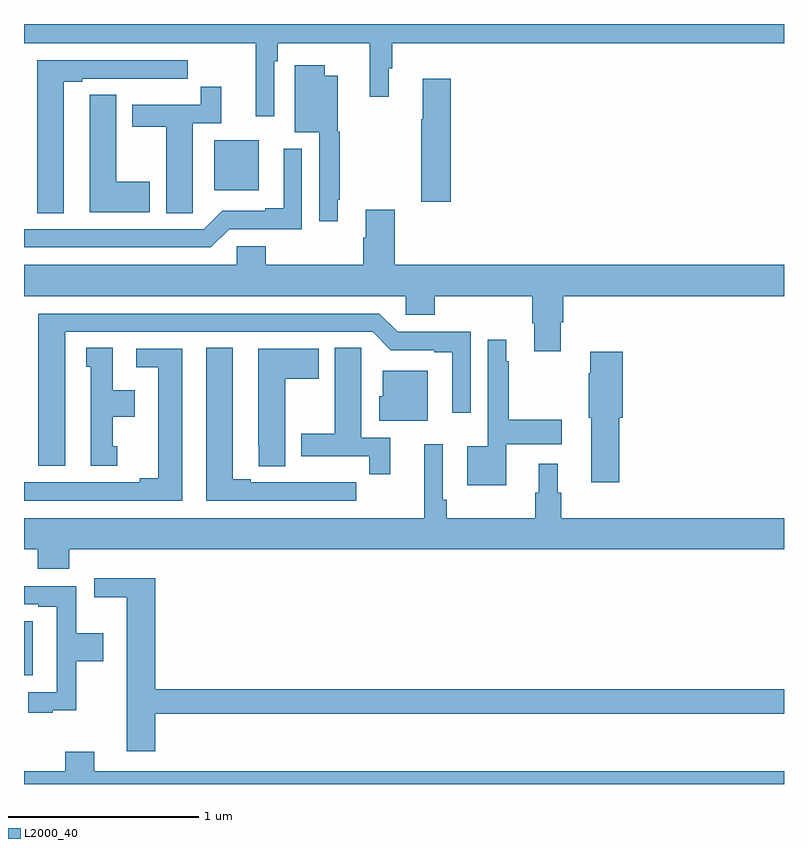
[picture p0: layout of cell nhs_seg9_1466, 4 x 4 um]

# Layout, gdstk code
import gdstk
lib = gdstk.Library(unit=1e-6, precision=1e-09)
def R(c, l, rs):  # rectangles x0, y0, x1, y1
    for r in rs: c.add(gdstk.rectangle(r[:2], r[2:], *l))
def P(c, l, *ps):  # polygons
    for p in ps: c.add(gdstk.Polygon(p, *l))
L2000_40 = (2000, 40)

nhs_seg9_1466 = lib.new_cell('nhs_seg9_1466')
R(nhs_seg9_1466, L2000_40, [(193,1213.073,193.045,1213.357), (194,1215.626,194.236,1215.889)])
P(nhs_seg9_1466, L2000_40, [(194.316,1216.304),(194.336,1216.304),(194.336,1216.4),(194.821,1216.4),(194.821,1216.116),(194.92,1216.116),(194.92,1216.266),(194.939,1216.266),(194.939,1216.4),(197,1216.4),(197,1216.5),(193,1216.5),(193,1216.4),(194.219,1216.4),(194.219,1216.014),(194.316,1216.014)],
  [(193.21,1216.197),(193.306,1216.197),(193.306,1216.212),(193.582,1216.212),(193.582,1216.211),(193.748,1216.211),(193.748,1216.212),(193.861,1216.212),(193.861,1216.308),(193.07,1216.308),(193.07,1215.505),(193.21,1215.505)],
  [(194.65,1215.574),(194.662,1215.574),(194.662,1215.933),(194.65,1215.933),(194.65,1216.228),(194.584,1216.228),(194.584,1216.282),(194.426,1216.282),(194.426,1215.929),(194.553,1215.929),(194.553,1215.462),(194.65,1215.462)],
  [(195.245,1216.213),(195.098,1216.213),(195.098,1216),(195.091,1216),(195.091,1215.564),(195.245,1215.564)],
  [(193.887,1215.616),(193.888,1215.616),(193.888,1215.978),(194.039,1215.978),(194.039,1216.171),(193.93,1216.171),(193.93,1216.074),(193.571,1216.074),(193.571,1215.958),(193.748,1215.958),(193.748,1215.505),(193.887,1215.505)],
  [(193.663,1215.669),(193.486,1215.669),(193.486,1216.127),(193.347,1216.127),(193.347,1216.019),(193.346,1216.019),(193.346,1215.509),(193.663,1215.509)],
  [(194.079,1215.42),(194.463,1215.42),(194.463,1215.844),(194.366,1215.844),(194.366,1215.529),(194.27,1215.529),(194.27,1215.516),(194.043,1215.516),(193.947,1215.42),(193,1215.42),(193,1215.324),(193.983,1215.324)],
  [(195.826,1214.931),(195.839,1214.931),(195.839,1215.068),(197,1215.068),(197,1215.232),(194.951,1215.232),(194.951,1215.523),(194.798,1215.523),(194.798,1215.374),(194.786,1215.374),(194.786,1215.232),(194.273,1215.232),(194.273,1215.33),(194.121,1215.33),(194.121,1215.232),(193,1215.232),(193,1215.068),(195.009,1215.068),(195.009,1214.97),(195.161,1214.97),(195.161,1215.068),(195.674,1215.068),(195.674,1214.926),(195.686,1214.926),(195.686,1214.778),(195.826,1214.778)],
  [(193.216,1214.88),(194.835,1214.88),(194.931,1214.784),(195.158,1214.784),(195.158,1214.772),(195.254,1214.772),(195.254,1214.454),(195.351,1214.454),(195.351,1214.88),(194.967,1214.88),(194.871,1214.976),(193.076,1214.976),(193.076,1214.175),(193.216,1214.175)],
  [(195.538,1214.288),(195.829,1214.288),(195.829,1214.418),(195.55,1214.418),(195.55,1214.726),(195.538,1214.726),(195.538,1214.839),(195.441,1214.839),(195.441,1214.278),(195.332,1214.278),(195.332,1214.072),(195.538,1214.072)],
  [(194.927,1214.322),(194.776,1214.322),(194.776,1214.684),(194.775,1214.684),(194.775,1214.795),(194.636,1214.795),(194.636,1214.343),(194.459,1214.343),(194.459,1214.226),(194.818,1214.226),(194.818,1214.13),(194.927,1214.13)],
  [(194.749,1214.088),(194.636,1214.088),(194.636,1214.089),(194.47,1214.089),(194.47,1214.088),(194.194,1214.088),(194.194,1214.103),(194.098,1214.103),(194.098,1214.795),(193.958,1214.795),(193.958,1213.992),(194.749,1213.992)],
  [(193.492,1214.277),(193.468,1214.277),(193.468,1214.432),(193.582,1214.432),(193.582,1214.572),(193.468,1214.572),(193.468,1214.795),(193.328,1214.795),(193.328,1214.697),(193.352,1214.697),(193.352,1214.175),(193.492,1214.175)],
  [(194.374,1214.632),(194.551,1214.632),(194.551,1214.791),(194.234,1214.791),(194.234,1214.281),(194.235,1214.281),(194.235,1214.173),(194.374,1214.173)],
  [(193.834,1214.79),(193.59,1214.79),(193.59,1214.694),(193.706,1214.694),(193.706,1214.108),(193.61,1214.108),(193.61,1214.088),(193,1214.088),(193,1213.992),(193.834,1213.992)],
  [(196.133,1214.427),(196.151,1214.427),(196.151,1214.776),(195.98,1214.776),(195.98,1214.663),(195.973,1214.663),(195.973,1214.427),(195.986,1214.427),(195.986,1214.088),(196.133,1214.088)],
  [(195.124,1214.674),(194.888,1214.674),(194.888,1214.541),(194.87,1214.541),(194.87,1214.411),(195.124,1214.411)],
  [(193.238,1213.736),(197,1213.736),(197,1213.9),(195.827,1213.9),(195.827,1214.034),(195.808,1214.034),(195.808,1214.185),(195.71,1214.185),(195.71,1214.034),(195.691,1214.034),(195.691,1213.9),(195.224,1213.9),(195.224,1213.996),(195.204,1213.996),(195.204,1214.287),(195.107,1214.287),(195.107,1213.9),(193,1213.9),(193,1213.736),(193.073,1213.736),(193.073,1213.634),(193.238,1213.634)],
  [(193.691,1212.87),(197,1212.87),(197,1212.998),(193.691,1212.998),(193.691,1213.582),(193.371,1213.582),(193.371,1213.484),(193.541,1213.484),(193.541,1212.672),(193.691,1212.672)],
  [(193.151,1212.887),(193.274,1212.887),(193.274,1213.147),(193.417,1213.147),(193.417,1213.294),(193.274,1213.294),(193.274,1213.542),(193,1213.542),(193,1213.446),(193.076,1213.446),(193.076,1213.434),(193.173,1213.434),(193.173,1212.984),(193.023,1212.984),(193.023,1212.876),(193.151,1212.876)],
  [(197,1212.568),(193.369,1212.568),(193.369,1212.67),(193.217,1212.67),(193.217,1212.568),(193,1212.568),(193,1212.5),(197,1212.5)])

lib.write_gds('nhs_seg9_1466.gds')
